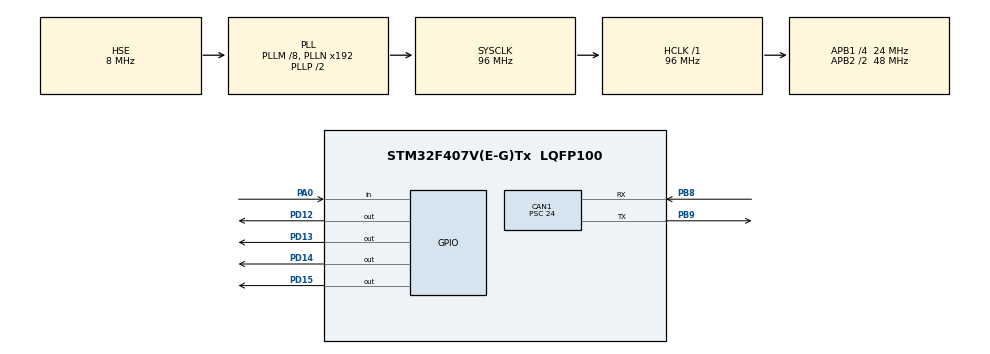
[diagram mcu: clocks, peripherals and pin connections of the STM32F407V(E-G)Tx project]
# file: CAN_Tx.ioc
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CAN1.BS1=CAN_BS1_13TQ
CAN1.BS2=CAN_BS2_2TQ
CAN1.CalculateBaudRate=62500
CAN1.CalculateTimeBit=16000
CAN1.CalculateTimeQuantum=1000.0
CAN1.Prescaler=24
Mcu.Family=STM32F4
Mcu.Name=STM32F407V(E-G)Tx
Mcu.Package=LQFP100
NVIC.CAN1_RX0_IRQn=true\:0\:0\:false\:false\:true\:true\:true\:true
NVIC.PriorityGroup=NVIC_PRIORITYGROUP_4
PA0-WKUP.Signal=GPIO_Input
PA13.Mode=Serial_Wire
PA13.Signal=SYS_JTMS-SWDIO
PA14.Mode=Serial_Wire
PA14.Signal=SYS_JTCK-SWCLK
PB8.Mode=CAN_Activate
PB8.Signal=CAN1_RX
PB9.Mode=CAN_Activate
PB9.Signal=CAN1_TX
PD12.Signal=GPIO_Output
PD13.Signal=GPIO_Output
PD14.Signal=GPIO_Output
PD15.Signal=GPIO_Output
PH0-OSC_IN.Mode=HSE-External-Oscillator
PH0-OSC_IN.Signal=RCC_OSC_IN
PH1-OSC_OUT.Mode=HSE-External-Oscillator
PH1-OSC_OUT.Signal=RCC_OSC_OUT
ProjectManager.HeapSize=0x200
ProjectManager.StackSize=0x400
ProjectManager.TargetToolchain=STM32CubeIDE
RCC.48MHZClocksFreq_Value=48000000
RCC.AHBFreq_Value=96000000
RCC.APB1CLKDivider=RCC_HCLK_DIV4
RCC.APB1Freq_Value=24000000
RCC.APB1TimFreq_Value=48000000
RCC.APB2CLKDivider=RCC_HCLK_DIV2
RCC.APB2Freq_Value=48000000
RCC.APB2TimFreq_Value=96000000
RCC.CortexFreq_Value=96000000
RCC.HCLKFreq_Value=96000000
RCC.HSE_VALUE=8000000
RCC.HSI_VALUE=16000000
RCC.LSE_VALUE=32768
RCC.PLLM=8
RCC.PLLSourceVirtual=RCC_PLLSOURCE_HSE
RCC.SYSCLKFreq_VALUE=96000000
RCC.SYSCLKSource=RCC_SYSCLKSOURCE_PLLCLK
RCC.VCOOutputFreq_Value=192000000
board=custom

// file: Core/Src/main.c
/* USER CODE BEGIN Header */
/**
  ******************************************************************************
  * @file           : main.c
  * @brief          : Main program body
  ******************************************************************************
  * @attention
  *
  * <h2><center>&copy; Copyright (c) 2021 STMicroelectronics.
  * All rights reserved.</center></h2>
  *
  * This software component is licensed by ST under BSD 3-Clause license,
  * the "License"; You may not use this file except in compliance with the
  * License. You may obtain a copy of the License at:
  *                        opensource.org/licenses/BSD-3-Clause
  *
  ******************************************************************************
  */
/*
Example Description

How to configure the CAN peripheral to send and receive CAN frames in
normal mode using Interrupt.

The sent frames are used to control LEDs by pressing KEY Push Button.

The CAN serial communication link is a bus to which a number of units may be
connected. This number has no theoretical limit. Practically the total number
of units will be limited by delay times and/or electrical loads on the bus line.

This program behaves as follows:
  - After reset, all LEDs are OFF on the STM32F4 Disc boards
  - By Pressing on KEY Push Button : LED1 turns ON and all other LEDs are OFF, on the N
    eval boards connected to the bus.
  - Press on KEY Push Button again to send CAN Frame to command LEDn+1 ON, all other LEDs
    are OFF on the STM32F4 Disc boards.

@note This example is tested with a bus of 2 units. The same program example is
      loaded in all units to send and receive frames.
@note Any unit in the CAN bus may play the role of sender (by pressing KEY Push Button)
      or receiver.

  The CAN is configured as follows:
    - Bit Rate   = 500 Kbps
    - CAN Clock  = external clock (HSE)
    - ID Filter  = All identifiers are allowed
    - RTR = Data
    - DLC = 1 byte
    - Data: Led number that should be turned ON
*/
/* USER CODE END Header */
#include "main.h"

 CAN_HandleTypeDef hcan1;

/* USER CODE BEGIN PV */
uint8_t ubKeyNumber = 0x0;
CAN_TxHeaderTypeDef   TxHeader;
CAN_RxHeaderTypeDef   RxHeader;
uint8_t               TxData[8];
uint8_t               RxData[8];
uint32_t              TxMailbox;
/* USER CODE END PV */

void SystemClock_Config(void);
static void MX_GPIO_Init(void);
static void MX_CAN1_Init(void);
/* USER CODE BEGIN PFP */
void CAN_filterConfig(void);
void LED_Display(uint8_t LedStatus);
/* USER CODE END PFP */

int main(void)
{

  /* MCU Configuration--------------------------------------------------------*/

  /* Reset of all peripherals, Initializes the Flash interface and the Systick. */
  HAL_Init();

  /* Configure the system clock */
  SystemClock_Config();

  /* Initialize all configured peripherals */
  MX_GPIO_Init();
  MX_CAN1_Init();
  /* USER CODE BEGIN 2 */

  /*##-Step1:Filter Configuration ###########################################*/
      CAN_filterConfig();

  /*##-Step2:Start the CAN peripheral ###########################################*/
      if (HAL_CAN_Start(&hcan1) != HAL_OK)
    	  {
    		/* Start Error */
    		Error_Handler();
    	  }
  /*##-Step3:Activate CAN RX notification #######################################*/
	 if (HAL_CAN_ActivateNotification(&hcan1, CAN_IT_RX_FIFO0_MSG_PENDING) != HAL_OK)
	{
	  // Notification Error
	  Error_Handler();
	}

	/*##-Step4:Configure Transmission process #####################################*/
	  TxHeader.StdId = 0x123;
	  TxHeader.RTR = CAN_RTR_DATA;
	  TxHeader.IDE = CAN_ID_STD;
	  TxHeader.DLC = 2;
	  TxHeader.TransmitGlobalTime = DISABLE;
  /* USER CODE END 2 */

  /* Infinite loop */
  /* USER CODE BEGIN WHILE */
  while (1)
  {
	    if (HAL_GPIO_ReadPin(GPIOA, GPIO_PIN_0) == GPIO_PIN_SET)
		      {
	    	HAL_Delay(50);//Debouncing Delay
	    	if (HAL_GPIO_ReadPin(GPIOA, GPIO_PIN_0) == GPIO_PIN_SET)
	    	{
					if (ubKeyNumber == 0x4)
						{
						  ubKeyNumber = 0x00;
						}
					else
						{
						  LED_Display(++ubKeyNumber);

						  /* Set the data to be transmitted */
						  TxData[0] = ubKeyNumber;
						  TxData[1] = 0xAD;

						  /* Start the Transmission process */
						  if (HAL_CAN_AddTxMessage(&hcan1, &TxHeader, TxData, &TxMailbox) != HAL_OK)
							  {
								/* Transmission request Error */
								Error_Handler();
							  }
				HAL_Delay(100);//Delay just for better Tuning
						}
					}
		      }
    /* USER CODE END WHILE */

  }
}

void SystemClock_Config(void)
{
  RCC_OscInitTypeDef RCC_OscInitStruct = {0};
  RCC_ClkInitTypeDef RCC_ClkInitStruct = {0};

  /** Configure the main internal regulator output voltage
  */
  __HAL_RCC_PWR_CLK_ENABLE();
  __HAL_PWR_VOLTAGESCALING_CONFIG(PWR_REGULATOR_VOLTAGE_SCALE1);

  /** Initializes the RCC Oscillators according to the specified parameters
  * in the RCC_OscInitTypeDef structure.
  */
  RCC_OscInitStruct.OscillatorType = RCC_OSCILLATORTYPE_HSE;
  RCC_OscInitStruct.HSEState = RCC_HSE_ON;
  RCC_OscInitStruct.PLL.PLLState = RCC_PLL_ON;
  RCC_OscInitStruct.PLL.PLLSource = RCC_PLLSOURCE_HSE;
  RCC_OscInitStruct.PLL.PLLM = 8;
  RCC_OscInitStruct.PLL.PLLN = 192;
  RCC_OscInitStruct.PLL.PLLP = RCC_PLLP_DIV2;
  RCC_OscInitStruct.PLL.PLLQ = 4;
  if (HAL_RCC_OscConfig(&RCC_OscInitStruct) != HAL_OK)
  {
    Error_Handler();
  }

  /** Initializes the CPU, AHB and APB buses clocks
  */
  RCC_ClkInitStruct.ClockType = RCC_CLOCKTYPE_HCLK|RCC_CLOCKTYPE_SYSCLK
                              |RCC_CLOCKTYPE_PCLK1|RCC_CLOCKTYPE_PCLK2;
  RCC_ClkInitStruct.SYSCLKSource = RCC_SYSCLKSOURCE_PLLCLK;
  RCC_ClkInitStruct.AHBCLKDivider = RCC_SYSCLK_DIV1;
  RCC_ClkInitStruct.APB1CLKDivider = RCC_HCLK_DIV4;
  RCC_ClkInitStruct.APB2CLKDivider = RCC_HCLK_DIV2;

  if (HAL_RCC_ClockConfig(&RCC_ClkInitStruct, FLASH_LATENCY_3) != HAL_OK)
  {
    Error_Handler();
  }
}

static void MX_CAN1_Init(void)
{

  hcan1.Instance = CAN1;
  hcan1.Init.Prescaler = 12;
  hcan1.Init.Mode = CAN_MODE_NORMAL;
  hcan1.Init.SyncJumpWidth = CAN_SJW_1TQ;
  hcan1.Init.TimeSeg1 = CAN_BS1_13TQ;
  hcan1.Init.TimeSeg2 = CAN_BS2_2TQ;
  hcan1.Init.TimeTriggeredMode = DISABLE;
  hcan1.Init.AutoBusOff = DISABLE;
  hcan1.Init.AutoWakeUp = DISABLE;
  hcan1.Init.AutoRetransmission = DISABLE;
  hcan1.Init.ReceiveFifoLocked = DISABLE;
  hcan1.Init.TransmitFifoPriority = DISABLE;
  if (HAL_CAN_Init(&hcan1) != HAL_OK)
  {
    Error_Handler();
  }

}

static void MX_GPIO_Init(void)
{
  GPIO_InitTypeDef GPIO_InitStruct = {0};

  /* GPIO Ports Clock Enable */
  __HAL_RCC_GPIOH_CLK_ENABLE();
  __HAL_RCC_GPIOA_CLK_ENABLE();
  __HAL_RCC_GPIOD_CLK_ENABLE();
  __HAL_RCC_GPIOB_CLK_ENABLE();

  /*Configure GPIO pin Output Level */
  HAL_GPIO_WritePin(GPIOD, GPIO_PIN_12|GPIO_PIN_13|GPIO_PIN_14|GPIO_PIN_15, GPIO_PIN_RESET);

  /*Configure GPIO pin : PA0 */
  GPIO_InitStruct.Pin = GPIO_PIN_0;
  GPIO_InitStruct.Mode = GPIO_MODE_INPUT;
  GPIO_InitStruct.Pull = GPIO_NOPULL;
  HAL_GPIO_Init(GPIOA, &GPIO_InitStruct);

  /*Configure GPIO pins : PD12 PD13 PD14 PD15 */
  GPIO_InitStruct.Pin = GPIO_PIN_12|GPIO_PIN_13|GPIO_PIN_14|GPIO_PIN_15;
  GPIO_InitStruct.Mode = GPIO_MODE_OUTPUT_PP;
  GPIO_InitStruct.Pull = GPIO_NOPULL;
  GPIO_InitStruct.Speed = GPIO_SPEED_FREQ_LOW;
  HAL_GPIO_Init(GPIOD, &GPIO_InitStruct);

}

/* USER CODE BEGIN 4 */
void CAN_filterConfig(void)
{
	/*##- Setup the Filter to receive ANY MSG ID #####################################*/
	CAN_FilterTypeDef sFilterConfig;

	  sFilterConfig.FilterBank = 0;
	  sFilterConfig.FilterMode = CAN_FILTERMODE_IDMASK;
	  sFilterConfig.FilterScale = CAN_FILTERSCALE_32BIT;
	  sFilterConfig.FilterIdHigh = 0x0000;
	  sFilterConfig.FilterIdLow = 0x0000;
	  sFilterConfig.FilterMaskIdHigh = 0x0000;
	  sFilterConfig.FilterMaskIdLow = 0x0000;
	  sFilterConfig.FilterFIFOAssignment = CAN_RX_FIFO0;
	  sFilterConfig.FilterActivation = ENABLE;
	  sFilterConfig.SlaveStartFilterBank = 14;
	HAL_CAN_ConfigFilter(&hcan1, &sFilterConfig);
}
//Tarun
void CAN1_RX0_IRQHandler(void)
{
  /* USER CODE BEGIN CAN1_RX0_IRQn 0 */
	 uint32_t errorcode = HAL_CAN_ERROR_NONE;
	 uint32_t interrupts = hcan1.Instance->IER;
	 uint32_t rf0rflags = hcan1.Instance->RF0R;

/* Receive FIFO 0 overrun interrupt management *****************************
if ((interrupts & CAN_IT_RX_FIFO0_OVERRUN) != 0U)
{
  if ((rf0rflags & CAN_RF0R_FOVR0) != 0U)
  {
    // Set CAN error code to Rx Fifo 0 overrun error
    errorcode |= HAL_CAN_ERROR_RX_FOV0;

    // Clear FIFO0 Overrun Flag
    __HAL_CAN_CLEAR_FLAG(hcan1, CAN_FLAG_FOV0);
  }
}
*/

/* Receive FIFO 0 full interrupt management ********************************
if ((interrupts & CAN_IT_RX_FIFO0_FULL) != 0U)
{
  if ((rf0rflags & CAN_RF0R_FULL0) != 0U)
  {
    /* Clear FIFO 0 full Flag
    __HAL_CAN_CLEAR_FLAG(hcan1, CAN_FLAG_FF0);

    /* Receive FIFO 0 full Callback */

    /* Call weak (surcharged) callback

    HAL_CAN_RxFifo0FullCallback(hcan1);
  }
}
*/

/* Receive FIFO 0 message pending interrupt management *********************/
if ((interrupts & CAN_IT_RX_FIFO0_MSG_PENDING) != 0U)
{
  /* Check if message is still pending */
  if ((hcan1.Instance->RF0R & CAN_RF0R_FMP0) != 0U)
  {
    /* Call weak (surcharged) callback */
	  if (HAL_CAN_GetRxMessage(&hcan1, CAN_RX_FIFO0, &RxHeader, RxData) != HAL_OK)
	   {
	     /* Reception Error */
	     Error_Handler();
	   }

	   /* Display LEDx */
	   if ((RxHeader.StdId == 0x123) && (RxHeader.IDE == CAN_ID_STD) && (RxHeader.DLC == 2))
	   {
	     LED_Display(RxData[0]);
	     ubKeyNumber = RxData[0];
	   }
  }
}
/* USER CODE END CAN1_RX0_IRQn 0 */

}
//Tarun End
/* Get RX message from Fifo0 as message is Pending in Fifo0 to be Read
void HAL_CAN_RxFifo0MsgPendingCallback(CAN_HandleTypeDef *hcan)
{
	  /* Get RX message from Fifo0 as message is Pending in Fifo to be Read
  if (HAL_CAN_GetRxMessage(hcan, CAN_RX_FIFO0, &RxHeader, RxData) != HAL_OK)
  {
    /* Reception Error
    Error_Handler();
  }

  /* Display LEDx
  if ((RxHeader.StdId == 0x123) && (RxHeader.IDE == CAN_ID_STD) && (RxHeader.DLC == 2))
  {
    LED_Display(RxData[0]);
    ubKeyNumber = RxData[0];
  }
}*/

/**
  * @brief  Turns ON/OFF the dedicated LED.
  * @param  LedStatus: LED number from 0 to 3
  * @retval None
  */
void LED_Display(uint8_t LedStatus)
{
  /* Turn OFF all LEDs */
	HAL_GPIO_WritePin(GPIOD, GPIO_PIN_12|GPIO_PIN_13|GPIO_PIN_14|GPIO_PIN_15, GPIO_PIN_RESET);

  switch(LedStatus)
  {
    case (1):
      /* Turn ON LED1 */
		HAL_GPIO_WritePin(GPIOD, GPIO_PIN_12, GPIO_PIN_SET);
      break;

    case (2):
      /* Turn ON LED2 */
		HAL_GPIO_WritePin(GPIOD, GPIO_PIN_13, GPIO_PIN_SET);
      break;

    case (3):
      /* Turn ON LED3 */
		HAL_GPIO_WritePin(GPIOD, GPIO_PIN_14, GPIO_PIN_SET);
      break;

    case (4):
      /* Turn ON LED4 */
		HAL_GPIO_WritePin(GPIOD, GPIO_PIN_15, GPIO_PIN_SET);
      break;
    default:
      break;
  }
}
/* USER CODE END 4 */

void Error_Handler(void)
{
  __disable_irq();
  while (1)
  {
  }
}
